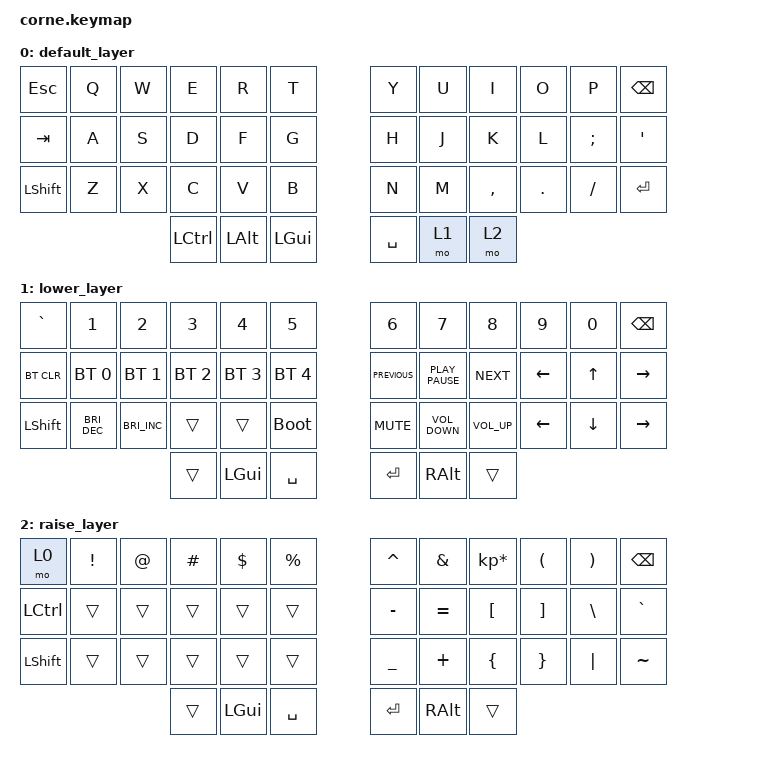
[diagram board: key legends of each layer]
/*
 * Copyright (c) 2020 The ZMK Contributors
 *
 * SPDX-License-Identifier: MIT
 */

#include <behaviors.dtsi>
#include <dt-bindings/zmk/bt.h>
#include <dt-bindings/zmk/keys.h>

/ {
    keymap {
        compatible = "zmk,keymap";

        default_layer {
            // -----------------------------------------------------------------------------------------
            // |  TAB |  Q  |  W  |  E  |  R  |  T  |   |  Y  |  U   |  I  |  O  |  P  | BKSP |
            // | CTRL |  A  |  S  |  D  |  F  |  G  |   |  H  |  J   |  K  |  L  |  ;  |  '   |
            // | SHFT |  Z  |  X  |  C  |  V  |  B  |   |  N  |  M   |  ,  |  .  |  /  | ESC  |
            //                    | GUI | LWR | SPC |   | ENT | RSE  | ALT |

            bindings = <
&kp ESC    &kp Q  &kp W  &kp E             &kp R         &kp T           &kp Y      &kp U  &kp I      &kp O    &kp P     &kp BSPC
&kp TAB    &kp A  &kp S  &kp D             &kp F         &kp G           &kp H      &kp J  &kp K      &kp L    &kp SEMI  &kp SQT
&kp LSHFT  &kp Z  &kp X  &kp C             &kp V         &kp B           &kp N      &kp M  &kp COMMA  &kp DOT  &kp FSLH  &kp ENTER
                         &kp LEFT_CONTROL  &kp LEFT_ALT  &kp LEFT_GUI    &kp SPACE  &mo 1  &mo 2
            >;
        };

        lower_layer {
            // -----------------------------------------------------------------------------------------
            // |  TAB |  1  |  2  |  3  |  4  |  5  |   |  6  |  7  |  8  |  9  |  0  | BKSP |
            // | BTCLR| BT1 | BT2 | BT3 | BT4 | BT5 |   | LFT | DWN |  UP | RGT |     |      |
            // | SHFT |     |     |     |     |     |   |     |     |     |     |     |      |
            //                    | GUI |     | SPC |   | ENT |     | ALT |

            bindings = <
&kp GRAVE   &kp N1                &kp N2                &kp N3        &kp N4        &kp N5          &kp N6          &kp N7             &kp N8           &kp N9          &kp N0          &kp BSPC
&bt BT_CLR  &bt BT_SEL 0          &bt BT_SEL 1          &bt BT_SEL 2  &bt BT_SEL 3  &bt BT_SEL 4    &kp K_PREVIOUS  &kp K_PLAY_PAUSE   &kp K_NEXT       &kp LEFT_ARROW  &kp UP_ARROW    &kp RIGHT_ARROW
&kp LSHFT   &kp C_BRIGHTNESS_DEC  &kp C_BRIGHTNESS_INC  &trans        &trans        &bootloader     &kp K_MUTE      &kp C_VOLUME_DOWN  &kp C_VOLUME_UP  &kp LEFT_ARROW  &kp DOWN_ARROW  &kp RIGHT_ARROW
                                                        &trans        &kp LEFT_GUI  &kp SPACE       &kp RET         &kp RIGHT_ALT      &trans
            >;
        };

        raise_layer {
            // -----------------------------------------------------------------------------------------
            // |  TAB |  !  |  @  |  #  |  $  |  %  |   |  ^  |  &  |  *  |  (  |  )  | BKSP |
            // | CTRL |     |     |     |     |     |   |  -  |  =  |  [  |  ]  |  \  |  `   |
            // | SHFT |     |     |     |     |     |   |  _  |  +  |  {  |  }  | "|" |  ~   |
            //                    | GUI |     | SPC |   | ENT |     | ALT |

            bindings = <
&mo 0      &kp EXCL  &kp AT  &kp HASH  &kp DLLR      &kp PRCNT    &kp CARET  &kp AMPS       &kp KP_MULTIPLY  &kp LPAR  &kp RPAR  &kp BSPC
&kp LCTRL  &trans    &trans  &trans    &trans        &trans       &kp MINUS  &kp EQUAL      &kp LBKT         &kp RBKT  &kp BSLH  &kp GRAVE
&kp LSHFT  &trans    &trans  &trans    &trans        &trans       &kp UNDER  &kp PLUS       &kp LBRC         &kp RBRC  &kp PIPE  &kp TILDE
                             &trans    &kp LEFT_GUI  &kp SPACE    &kp RET    &kp RIGHT_ALT  &trans
            >;
        };
    };
};
